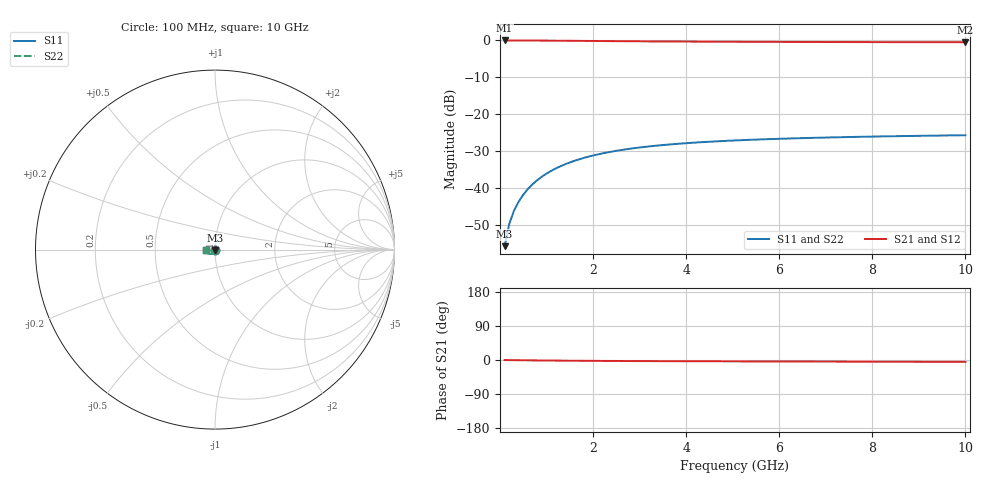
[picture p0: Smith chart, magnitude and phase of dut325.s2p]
! Touchstone file exported from HFSS 2024.1.0
!  File:  C:/UserFiles/LocalFiles/RDL_TSV_Batchsim/temp_TSV1_325_1779617333.aedt
!  Generated:  06:14:53 PM May 24, 2026
!  Design:  TSV1
!  Project:  temp_TSV1_325_1779617333
!  Setup:  Setup1
!  Solution:  Sweep
! Variables:
!  dtsv = 14.35um
!  hbump = 3um
!  htsv = 75.79um
!  lrdl = 252.1521522um
!  p = 40
!  p1 = 58.94um
!  t = 500um
!  trdl = 3um
!  wrdl = 24.89489489um
# GHz S MA R 50.000000
! Terminal data exported
! Port[1] = TSV22_T1
! Port[2] = TSV22_T2
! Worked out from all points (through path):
!   100 points, 100 MHz to 10 GHz, reference 50 ohm
!   highest |S21| = 0.00 dB at 100 MHz (marker M1); lowest = -0.5 dB at 10 GHz (marker M2)
!   lowest |S11| = -55.6 dB at 100 MHz (marker M3), VSWR 1.00, Z = 50 - j0.166 ohm
!   |S11| at or under -10 dB: start of sweep to end of sweep
!   |S22| runs from -55.6 to -25.6 dB; largest |S21 - S12| = 4e-15
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0.1  0.001659 -89.3  0.9999 -0.1  0.9999 -0.1  0.001659 -89.3
! Gamma 0 0 0 0
! Port Impedance 50 0 50 0
0.2  0.003316 -92.5  0.9997 -0.3  0.9997 -0.3  0.003316 -92.5
0.3  0.004969 -94.9  0.9994 -0.4  0.9994 -0.4  0.004969 -94.9
0.4  0.006609 -97.1  0.9989 -0.6  0.9989 -0.6  0.006609 -97.1
0.5  0.00823 -99.2  0.9984 -0.7  0.9984 -0.7  0.00823 -99.2
0.6  0.009825 -101.3  0.9978 -0.8  0.9978 -0.8  0.009825 -101.3
0.7  0.01139 -103.3  0.9971 -1.0  0.9971 -1.0  0.01139 -103.3
0.8  0.01292 -105.3  0.9963 -1.1  0.9963 -1.1  0.01292 -105.3
0.9  0.01441 -107.2  0.9955 -1.2  0.9955 -1.2  0.01441 -107.2
1.1  0.01727 -110.9  0.9936 -1.5  0.9936 -1.5  0.01727 -110.9
1.4  0.02122 -116.1  0.9905 -1.8  0.9905 -1.8  0.02122 -116.1
1.6  0.02361 -119.4  0.9883 -2.0  0.9883 -2.0  0.02361 -119.4
1.8  0.02583 -122.5  0.9861 -2.1  0.9861 -2.1  0.02583 -122.5
2.1  0.02882 -126.8  0.9827 -2.3  0.9827 -2.3  0.02882 -126.8
2.5  0.03224 -132.0  0.9785 -2.6  0.9785 -2.6  0.03224 -132.0
2.9  0.03511 -136.6  0.9746 -2.8  0.9746 -2.8  0.03511 -136.6
3.4  0.03806 -141.6  0.9703 -3.0  0.9703 -3.0  0.03806 -141.6
4.2  0.04169 -148.3  0.9646 -3.3  0.9646 -3.3  0.04169 -148.3
5.1  0.04466 -154.5  0.9596 -3.6  0.9596 -3.6  0.04466 -154.5
6.7  0.04823 -163.2  0.9535 -4.0  0.9535 -4.0  0.04823 -163.2
8.4  0.05071 -170.4  0.9493 -4.5  0.9493 -4.5  0.05071 -170.4
10  0.05239 -175.9  0.9467 -5.0  0.9467 -5.0  0.05239 -175.9
